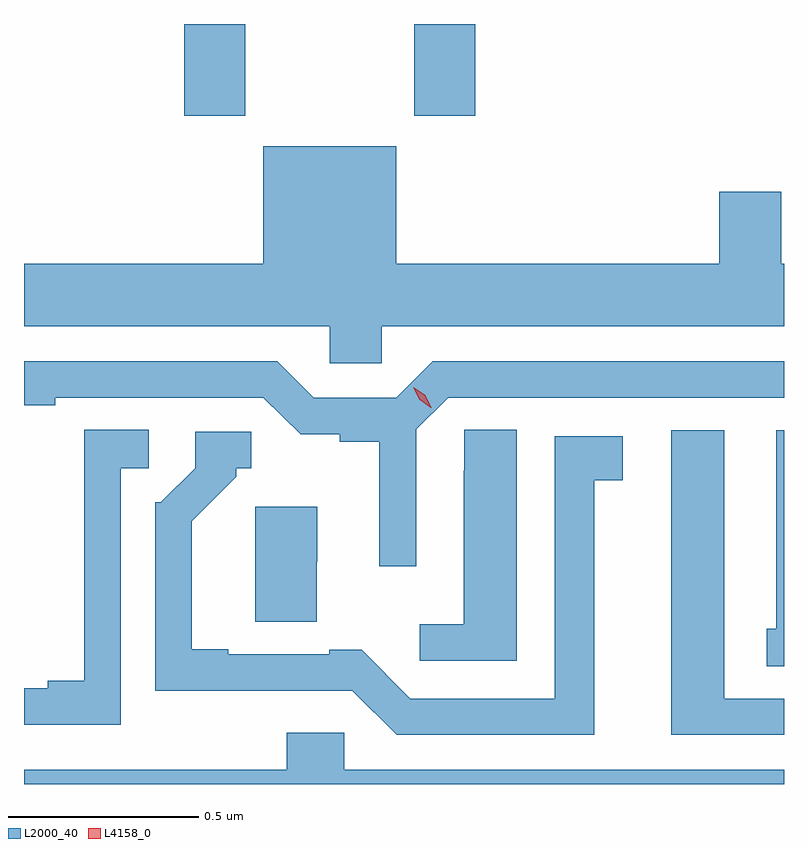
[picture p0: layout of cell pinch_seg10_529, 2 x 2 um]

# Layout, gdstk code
import gdstk
lib = gdstk.Library(unit=1e-6, precision=1e-09)
def R(c, l, rs):  # rectangles x0, y0, x1, y1
    for r in rs: c.add(gdstk.rectangle(r[:2], r[2:], *l))
def P(c, l, *ps):  # polygons
    for p in ps: c.add(gdstk.Polygon(p, *l))
L2000_40 = (2000, 40)
L4158_0 = (4158, 0)

pinch_seg10_529 = lib.new_cell('pinch_seg10_529')
R(pinch_seg10_529, L2000_40, [(199.565,1302.201,199.725,1302.443), (200.17,1302.201,200.33,1302.443)])
P(pinch_seg10_529, L2000_40, [(200.085,1301.648),(201.143,1301.648),(201.143,1301.812),(201.136,1301.812),(201.136,1302.001),(200.972,1302.001),(200.972,1301.812),(200.122,1301.812),(200.122,1302.121),(199.772,1302.121),(199.772,1301.812),(199.143,1301.812),(199.143,1301.648),(199.947,1301.648),(199.947,1301.55),(200.085,1301.55)],
  [(200.175,1301.376),(200.259,1301.46),(201.143,1301.46),(201.143,1301.556),(200.219,1301.556),(200.123,1301.46),(199.905,1301.46),(199.809,1301.556),(199.143,1301.556),(199.143,1301.44),(199.225,1301.44),(199.225,1301.46),(199.773,1301.46),(199.871,1301.363),(199.974,1301.363),(199.974,1301.344),(200.078,1301.344),(200.078,1301.016),(200.175,1301.016)],
  [(199.398,1301.274),(199.471,1301.274),(199.471,1301.375),(199.301,1301.375),(199.301,1300.715),(199.205,1300.715),(199.205,1300.695),(199.143,1300.695),(199.143,1300.599),(199.398,1300.599)],
  [(200.44,1301.375),(200.301,1301.375),(200.301,1301.267),(200.3,1301.267),(200.3,1300.864),(200.184,1300.864),(200.184,1300.767),(200.44,1300.767)],
  [(201.143,1301.374),(201.122,1301.374),(201.122,1300.851),(201.098,1300.851),(201.098,1300.753),(201.143,1300.753)],
  [(201.143,1300.668),(200.986,1300.668),(200.986,1301.374),(200.846,1301.374),(200.846,1300.572),(201.143,1300.572)],
  [(200.644,1301.242),(200.719,1301.242),(200.719,1301.358),(200.54,1301.358),(200.54,1300.668),(200.16,1300.668),(200.032,1300.796),(199.946,1300.796),(199.946,1300.785),(199.681,1300.785),(199.681,1300.798),(199.585,1300.798),(199.585,1301.134),(199.702,1301.251),(199.702,1301.274),(199.741,1301.274),(199.741,1301.37),(199.593,1301.37),(199.593,1301.274),(199.503,1301.184),(199.488,1301.184),(199.488,1300.688),(199.751,1300.688),(199.751,1300.689),(200.007,1300.689),(200.124,1300.572),(200.644,1300.572)],
  [(199.914,1301.028),(199.915,1301.028),(199.915,1301.173),(199.751,1301.173),(199.751,1300.87),(199.914,1300.87)],
  [(201.143,1300.48),(199.986,1300.48),(199.986,1300.578),(199.835,1300.578),(199.835,1300.48),(199.143,1300.48),(199.143,1300.443),(201.143,1300.443)])
P(pinch_seg10_529, L4158_0, [(200.214,1301.433),(200.184,1301.454),(200.167,1301.487),(200.167,1301.487),(200.167,1301.487),(200.198,1301.467),(200.215,1301.434),(200.215,1301.433)])

lib.write_gds('pinch_seg10_529.gds')
